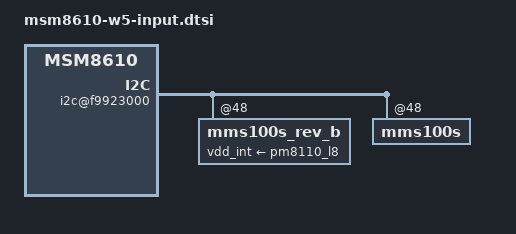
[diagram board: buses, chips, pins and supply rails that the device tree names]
/* Copyright (c) 2012, Code Aurora Forum. All rights reserved.
 *
 * This program is free software; you can redistribute it and/or modify
 * it under the terms of the GNU General Public License version 2 and
 * only version 2 as published by the Free Software Foundation.
 *
 * This program is distributed in the hope that it will be useful,
 * but WITHOUT ANY WARRANTY; without even the implied warranty of
 * MERCHANTABILITY or FITNESS FOR A PARTICULAR PURPOSE.  See the
 * GNU General Public License for more details.
 */

&soc {
	i2c@f9923000{
		mms100s_rev_b@48 {
			melfas,product = "I2S45B";
			melfas,max-x = <480>;
			melfas,max-y = <800>;
                        melfas,use_vdd_i2c = <1>;
			melfas,gpio-vdd-en = <62>;
			melfas,key-map = <158 139>;
			vdd_int-supply = <&pm8110_l8>;		
			melfas,fw-image-name = "melfas/w5_aio_us/w5_aio_us_rev_b_v101.mfsb";
			
			status = "ok";
			revision = "rev_b";
		};
		
		mms100s@48 {
			melfas,product = "I2S45B";
			melfas,max-x = <480>;
			melfas,max-y = <800>;
                        melfas,use_vdd_i2c = <1>;
			melfas,gpio-vdd-en = <82>;
			melfas,key-map = <158 139>;
			melfas,fw-image-name = "melfas/w5_aio_us/w5_aio_us_rev_b_v101.mfsb";	
			status = "ok";
			revision = "rev_a","rev_c...";
		};

	};
};
